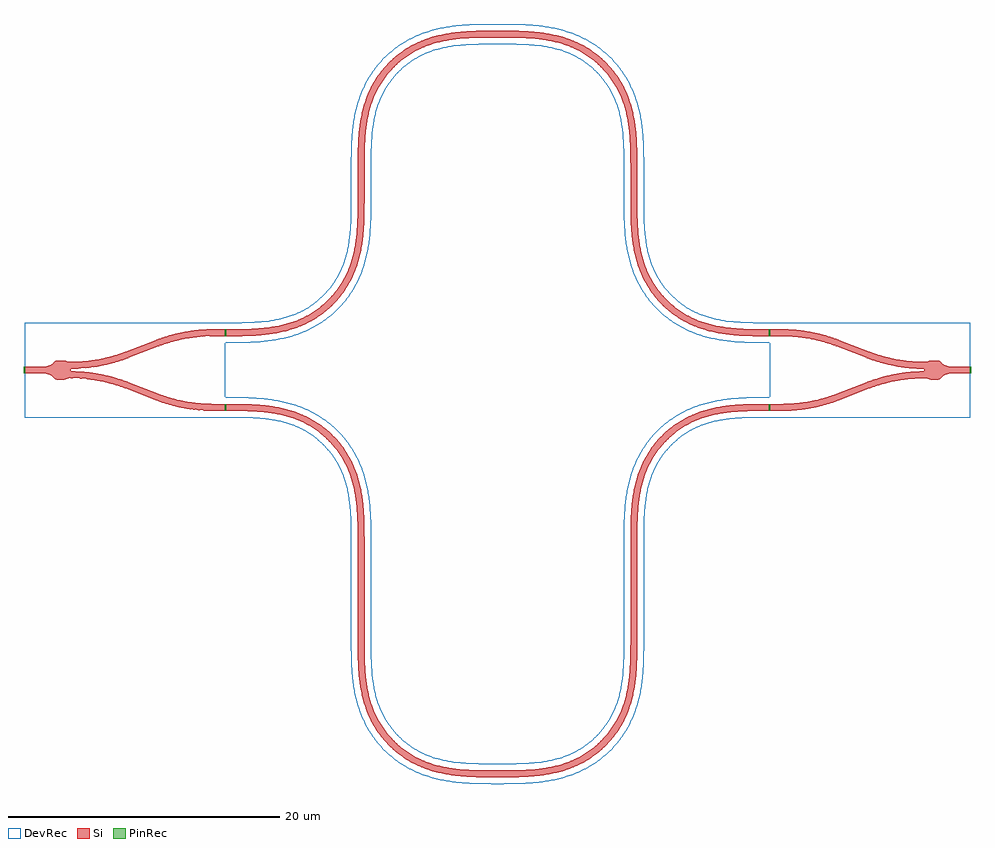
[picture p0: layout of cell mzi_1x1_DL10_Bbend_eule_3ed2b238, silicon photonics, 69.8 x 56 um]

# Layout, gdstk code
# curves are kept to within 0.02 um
from math import pi, radians
import gdstk
lib = gdstk.Library(unit=1e-6, precision=1e-09)
def R(c, l, rs):  # rectangles x0, y0, x1, y1
    for r in rs: c.add(gdstk.rectangle(r[:2], r[2:], *l))
def P(c, l, *ps):  # polygons
    for p in ps: c.add(gdstk.Polygon(p, *l))
Si = (1, 0)
PinRec = (1, 10)
DevRec = (68, 0)

ebeam_y_1550 = lib.new_cell('ebeam_y_1550')
R(ebeam_y_1550, Si, [(6.5,-3,7.4,-2.5), (-7.4,-0.25,-6,0.25), (6.5,2.5,7.4,3)])
P(ebeam_y_1550, Si, [(6.458,-3),(6.237,-2.997),(6.237,-2.497),(6.5,-2.5),(6.5,-3)],
  [(5.033,-2.908),(4.288,-2.79),(3.59,-2.634),(2.922,-2.442),(2.265,-2.21),(2.445,-1.744),(3.075,-1.966),(3.731,-2.154),(5.033,-2.404)],
  [(6.233,-2.997),(5.033,-2.908),(5.033,-2.404),(6.237,-2.497)],
  [(2.265,-2.21),(0.055,-1.356),(0.235,-0.89),(2.445,-1.744)],
  [(-0.762,-1.076),(-1.532,-0.874),(-2.334,-0.724),(-3.178,-0.63),(-4,-0.6),(-4,-0.1),(-3.16,-0.13),(-2.381,-0.212),(-1.565,-0.355),(-0.762,-0.555)],
  [(0.055,-1.356),(-0.762,-1.076),(-0.762,-0.555),(0.235,-0.89)],
  [(6.237,2.497),(6.237,2.997),(6.5,3),(6.5,2.5)],
  [(2.445,1.744),(2.267,2.211),(2.922,2.442),(3.59,2.634),(4.288,2.79),(5.033,2.908),(5.033,2.404),(3.731,2.154),(3.075,1.966)],
  [(5.033,2.404),(5.033,2.908),(6.237,2.997),(6.237,2.497)],
  [(0.235,0.89),(0.055,1.356),(2.265,2.21),(2.445,1.744)],
  [(-4,0.1),(-4,0.6),(-3.178,0.63),(-2.334,0.724),(-1.532,0.874),(-0.762,1.076),(-0.762,0.555),(-1.565,0.355),(-2.381,0.212),(-3.16,0.13)],
  [(-0.762,0.555),(-0.762,1.076),(0.055,1.356),(0.235,0.89)],
  [(-5.122,-0.662),(-5.442,-0.374),(-5.808,-0.255),(-6,-0.25),(-6,0.25),(-5.817,0.253),(-5.442,0.374),(-5.122,0.662)],
  [(-4.957,-0.703),(-5.122,-0.662),(-5.122,0.662),(-4.978,0.702),(-4.538,0.703),(-4.167,0.6),(-4,0.6),(-4,-0.6),(-4.167,-0.6),(-4.509,-0.701)])
R(ebeam_y_1550, PinRec, [(7.35,-3,7.45,-2.5), (-7.45,-0.25,-7.35,0.25), (7.35,2.5,7.45,3)])
R(ebeam_y_1550, DevRec, [(-7.4,-3.5,7.4,3.5)])
ebeam_y_1550.add(gdstk.Label('Component=ebeam_y_1550', (-6,1.5), layer=68, texttype=0))
ebeam_y_1550.add(gdstk.Label('Lumerical_INTERCONNECT_library=Design kits/ebeam', (-6.86,-2.19), layer=68, texttype=0))
ebeam_y_1550.add(gdstk.Label('opt2', (7.4,2.75), layer=1, texttype=10))
ebeam_y_1550.add(gdstk.Label('opt3', (7.4,-2.75), layer=1, texttype=10))
ebeam_y_1550.add(gdstk.Label('opt1', (-7.4,0), layer=1, texttype=10))
ebeam_y_1550.add(gdstk.Label('Ref: Y Zhang, Opt. Express, 21/1, 2013', (-7.5,-1), layer=10, texttype=0))

bend_euler_rnone_a90_p0_ = lib.new_cell('bend_euler_RNone_A90_P0_fbfa4d8c')
P(bend_euler_rnone_a90_p0_, Si, [(0,-0.25),(0,0.25),(1.655,0.269),(2.881,0.353),(3.952,0.52),(4.99,0.806),(5.731,1.113),(6.431,1.505),(7.079,1.976),(7.575,2.425),(8.024,2.921),(8.495,3.569),(8.887,4.269),(9.194,5.01),(9.48,6.048),(9.647,7.119),(9.731,8.345),(9.75,10),(10.25,10),(10.235,8.468),(10.158,7.205),(10.023,6.224),(9.797,5.254),(9.457,4.312),(9.066,3.545),(8.5,2.715),(7.928,2.072),(7.285,1.5),(6.455,0.934),(5.688,0.543),(4.746,0.203),(3.776,-0.023),(2.795,-0.158),(1.532,-0.235)])
P(bend_euler_rnone_a90_p0_, DevRec, [(0,-0.75),(0,0.75),(1.637,0.769),(2.697,0.837),(3.724,0.984),(4.466,1.163),(5.288,1.459),(5.95,1.797),(6.666,2.285),(7.221,2.779),(7.715,3.334),(8.203,4.05),(8.541,4.712),(8.837,5.534),(9.016,6.276),(9.163,7.303),(9.231,8.363),(9.25,10),(10.75,10),(10.735,8.453),(10.656,7.156),(10.488,5.989),(10.277,5.114),(9.915,4.111),(9.497,3.292),(8.893,2.406),(8.282,1.718),(7.594,1.107),(6.708,0.503),(5.889,0.085),(4.886,-0.277),(4.011,-0.488),(2.844,-0.656),(1.547,-0.735)])

straight_l2_csstrip_wnon = lib.new_cell('straight_L2_CSstrip_WNone_N2')
R(straight_l2_csstrip_wnon, Si, [(0,-0.25,2,0.25)])
R(straight_l2_csstrip_wnon, DevRec, [(0,-0.75,2,0.75)])

straight_l7_csstrip_wnon = lib.new_cell('straight_L7_CSstrip_WNone_N2')
R(straight_l7_csstrip_wnon, Si, [(0,-0.25,7,0.25)])
R(straight_l7_csstrip_wnon, DevRec, [(0,-0.75,7,0.75)])

straight_l0p1_csstrip_wn = lib.new_cell('straight_L0p1_CSstrip_WNone_N2')
R(straight_l0p1_csstrip_wn, Si, [(0,-0.25,0.1,0.25)])
R(straight_l0p1_csstrip_wn, DevRec, [(0,-0.75,0.1,0.75)])

mzi_1x1_dl10_bbend_eule_ = lib.new_cell('mzi_1x1_DL10_Bbend_eule_3ed2b238')
mzi_1x1_dl10_bbend_eule_.add(gdstk.Reference(ebeam_y_1550, (0,0)))
mzi_1x1_dl10_bbend_eule_.add(gdstk.Reference(bend_euler_rnone_a90_p0_, (7.4,-2.75), x_reflection=True))
mzi_1x1_dl10_bbend_eule_.add(gdstk.Reference(bend_euler_rnone_a90_p0_, (17.4,-19.75), rotation=3*pi/2))
mzi_1x1_dl10_bbend_eule_.add(gdstk.Reference(bend_euler_rnone_a90_p0_, (7.4,2.75)))
mzi_1x1_dl10_bbend_eule_.add(gdstk.Reference(bend_euler_rnone_a90_p0_, (27.4,24.75), rotation=pi))
mzi_1x1_dl10_bbend_eule_.add(gdstk.Reference(bend_euler_rnone_a90_p0_, (37.5,14.75), rotation=pi/2))
mzi_1x1_dl10_bbend_eule_.add(gdstk.Reference(bend_euler_rnone_a90_p0_, (37.5,12.75), rotation=3*pi/2))
mzi_1x1_dl10_bbend_eule_.add(gdstk.Reference(bend_euler_rnone_a90_p0_, (27.5,-29.75)))
mzi_1x1_dl10_bbend_eule_.add(gdstk.Reference(bend_euler_rnone_a90_p0_, (47.5,-2.75), rotation=pi))
mzi_1x1_dl10_bbend_eule_.add(gdstk.Reference(straight_l2_csstrip_wnon, (17.4,12.75), rotation=pi/2))
mzi_1x1_dl10_bbend_eule_.add(gdstk.Reference(straight_l7_csstrip_wnon, (17.4,-12.75), rotation=3*pi/2))
mzi_1x1_dl10_bbend_eule_.add(gdstk.Reference(straight_l0p1_csstrip_wn, (27.4,24.75)))
mzi_1x1_dl10_bbend_eule_.add(gdstk.Reference(straight_l0p1_csstrip_wn, (27.4,-29.75)))
mzi_1x1_dl10_bbend_eule_.add(gdstk.Reference(ebeam_y_1550, (54.9,0), rotation=pi, x_reflection=True))
mzi_1x1_dl10_bbend_eule_.add(gdstk.Reference(straight_l2_csstrip_wnon, (37.5,12.75), rotation=pi/2))
mzi_1x1_dl10_bbend_eule_.add(gdstk.Reference(straight_l7_csstrip_wnon, (37.5,-19.75), rotation=pi/2))

lib.write_gds('mzi_1x1_DL10_Bbend_eule_3ed2b238.gds')
